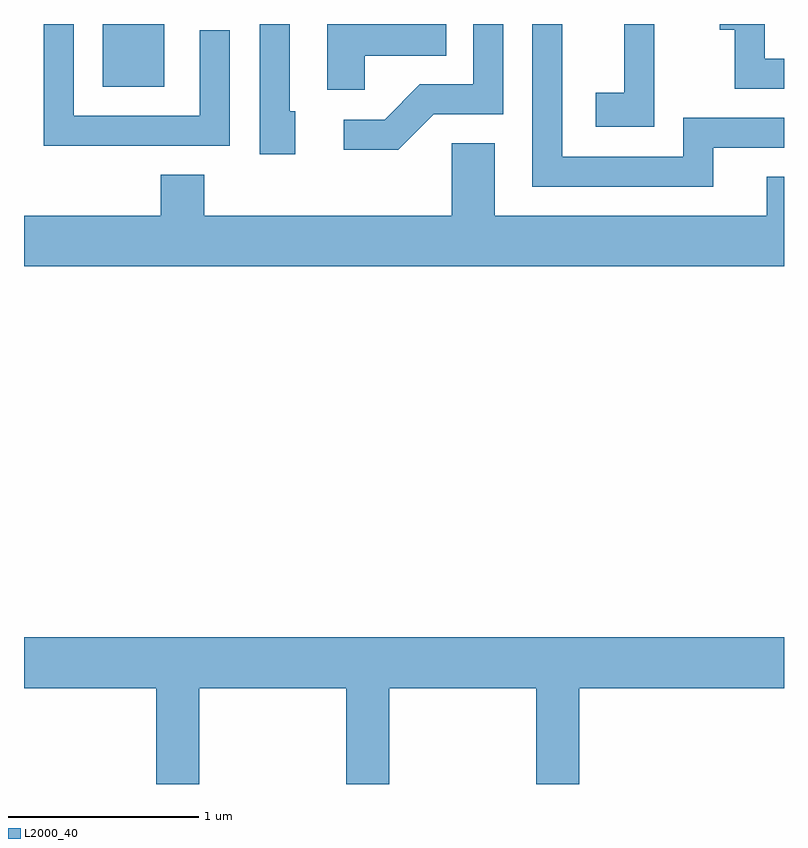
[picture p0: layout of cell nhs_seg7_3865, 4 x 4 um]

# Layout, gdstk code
import gdstk
lib = gdstk.Library(unit=1e-6, precision=1e-09)
def R(c, l, rs):  # rectangles x0, y0, x1, y1
    for r in rs: c.add(gdstk.rectangle(r[:2], r[2:], *l))
def P(c, l, *ps):  # polygons
    for p in ps: c.add(gdstk.Polygon(p, *l))
L2000_40 = (2000, 40)

nhs_seg7_3865 = lib.new_cell('nhs_seg7_3865')
R(nhs_seg7_3865, L2000_40, [(304.026,1721.921,304.349,1722.252)])
P(nhs_seg7_3865, L2000_40, [(305.404,1722.086),(305.833,1722.086),(305.833,1722.252),(305.206,1722.252),(305.206,1721.906),(305.404,1721.906)],
  [(307.611,1722.069),(307.509,1722.069),(307.509,1722.252),(307.273,1722.252),(307.273,1722.221),(307.351,1722.221),(307.351,1721.911),(307.611,1721.911)],
  [(304.694,1722.218),(304.536,1722.218),(304.536,1721.769),(303.874,1721.769),(303.874,1722.252),(303.716,1722.252),(303.716,1721.611),(304.694,1721.611)],
  [(305.039,1721.794),(305.009,1721.794),(305.009,1722.252),(304.851,1722.252),(304.851,1721.566),(305.039,1721.566)],
  [(307.239,1721.601),(307.611,1721.601),(307.611,1721.759),(307.081,1721.759),(307.081,1721.554),(306.444,1721.554),(306.444,1722.252),(306.286,1722.252),(306.286,1721.396),(307.239,1721.396)],
  [(306.929,1722.252),(306.771,1722.252),(306.771,1721.889),(306.621,1721.889),(306.621,1721.711),(306.929,1721.711)],
  [(305.767,1721.776),(306.134,1721.776),(306.134,1722.252),(305.976,1722.252),(305.976,1721.934),(305.694,1721.934),(305.509,1721.749),(305.293,1721.749),(305.293,1721.591),(305.582,1721.591)],
  [(307.611,1721.449),(307.521,1721.449),(307.521,1721.244),(306.089,1721.244),(306.089,1721.624),(305.861,1721.624),(305.861,1721.244),(304.559,1721.244),(304.559,1721.459),(304.331,1721.459),(304.331,1721.244),(303.611,1721.244),(303.611,1720.976),(307.611,1720.976)],
  [(304.534,1718.756),(305.306,1718.756),(305.306,1718.252),(305.534,1718.252),(305.534,1718.756),(306.306,1718.756),(306.306,1718.252),(306.534,1718.252),(306.534,1718.756),(307.611,1718.756),(307.611,1719.024),(303.611,1719.024),(303.611,1718.756),(304.306,1718.756),(304.306,1718.252),(304.534,1718.252)])

lib.write_gds('nhs_seg7_3865.gds')
